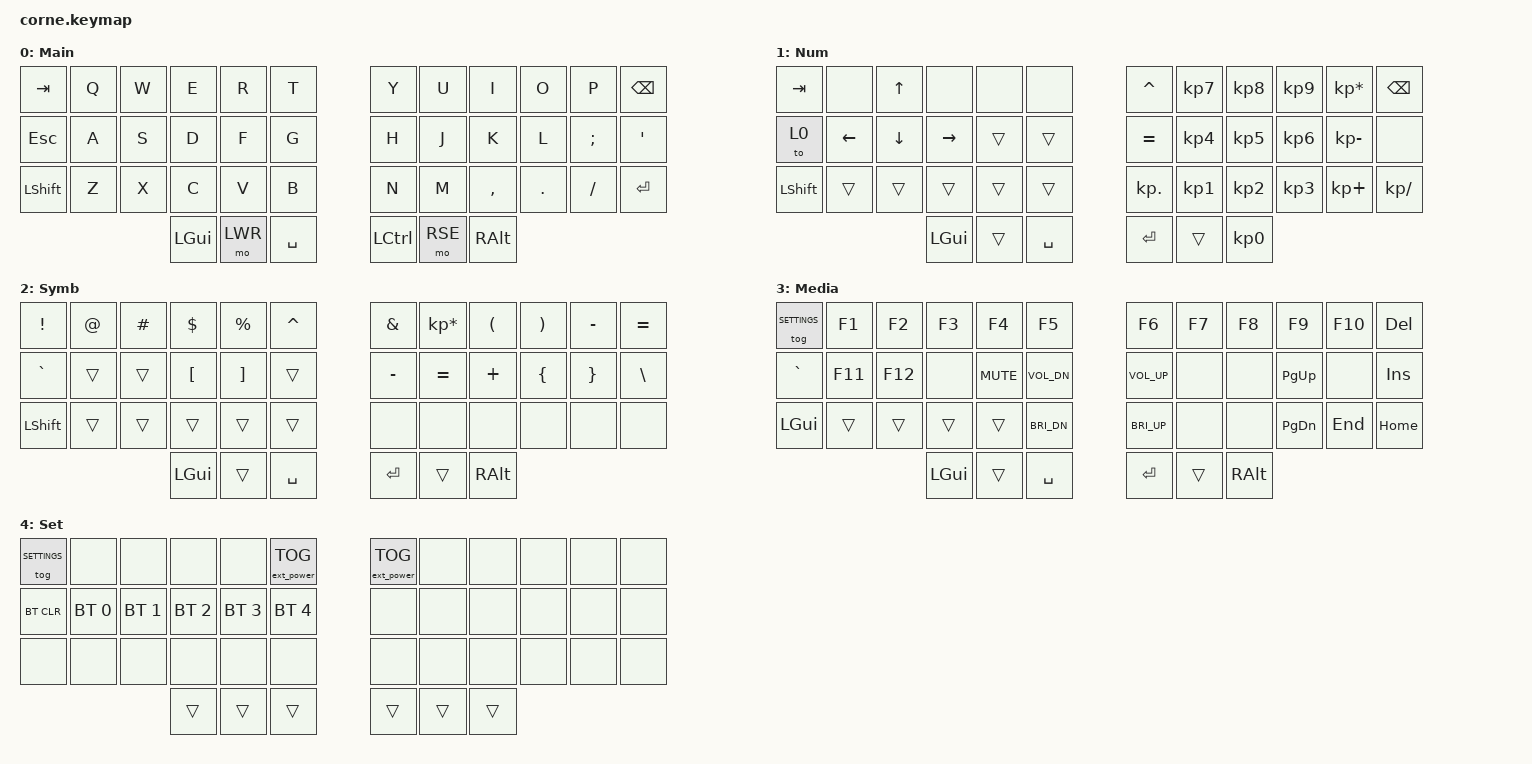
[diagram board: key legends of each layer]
/*
 * Copyright (c) 2020 The ZMK Contributors
 *
 * SPDX-License-Identifier: MIT
 */

#include <behaviors.dtsi>
#include <dt-bindings/zmk/keys.h>
#include <dt-bindings/zmk/bt.h>
#include <dt-bindings/zmk/ext_power.h>
#define LWR 1
#define RSE 2
#define ADJ 3
#define SETTINGS 4

/ {

        conditional_layers {
          compatible = "zmk,conditional-layers";
            tri_layer {
              if-layers = <LWR RSE>;
              then-layer = <ADJ>;
            };
        };
	
        keymap {
                compatible = "zmk,keymap";

                default_layer {
// -----------------------------------------------------------------------------------------
// |  TAB |  Q  |  W  |  E  |  R  |  T  |            |  Y  |  U   |  I  |  O  |  P  | BKSP |
// | ESC  |  A  |  S  |  D  |  F  |  G  |            |  H  |  J   |  K  |  L  |  ;  |  '   |
// | SHFT |  Z  |  X  |  C  |  V  |  B  |            |  N  |  M   |  ,  |  .  |  /  | ENT  |
// |                  | GUI | LWR | SPC |            | CTRL| RSE  | ALT |                  |
// -----------------------------------------------------------------------------------------
                        display-name = "Main";
                        bindings = <
   &kp TAB    &kp Q   &kp W     &kp E     &kp R     &kp T           &kp Y     &kp U     &kp I       &kp O     &kp P     &kp BSPC
   &kp ESC    &kp A   &kp S     &kp D     &kp F     &kp G           &kp H     &kp J     &kp K       &kp L     &kp SEMI  &kp SQT
   &kp LSHFT  &kp Z   &kp X     &kp C     &kp V     &kp B           &kp N     &kp M     &kp COMMA   &kp DOT   &kp FSLH  &kp ENTER
                                &kp LGUI  &mo LWR   &kp SPACE       &kp LCTRL &mo RSE   &kp RALT
                        >;
                };
                lower_layer {
// -----------------------------------------------------------------------------------------
// |  TAB |     |  UP |     |     |     |             |  ^  |  7  |  8  |  9  |  *  | BKSP |
// | to(0)| LEFT| DOWN|RIGHT|     |     |             |  =  |  4  |  5  |  6  |  -  |      |
// | SHFT |     |     |     |     |     |             |  .  |  1  |  2  |  3  |  +  |  /   |
// |                  | GUI |     | SPC |             | ENT |     |  0  |                  |
// -----------------------------------------------------------------------------------------
                        display-name = "Num";
                        bindings = <
   &kp TAB    &none      &kp UP     &none       &none   &none         &kp CARET   &kp KP_N7    &kp KP_N8  &kp KP_N9  &kp KP_MULTIPLY   &kp BSPC
   &to 0      &kp LEFT   &kp DOWN   &kp RIGHT   &trans  &trans        &kp EQUAL   &kp KP_N4    &kp KP_N5  &kp KP_N6  &kp KP_MINUS      &none
   &kp LSHFT  &trans     &trans     &trans      &trans  &trans        &kp KP_DOT  &kp KP_N1    &kp KP_N2  &kp KP_N3  &kp KP_PLUS       &kp KP_SLASH
                          	        &kp LGUI    &trans  &kp SPACE     &kp RET     &trans       &kp KP_N0
                        >;
                };

                raise_layer {
// -----------------------------------------------------------------------------------------
// |  !   |  @  |  #  |  $  |  %  |  ^  |             |  &  |  *  |  (  |  )  |  -  |  =   |
// | GRAVE|     |     |     |     |     |             |  -  |  =  |  +  |  {  |  }  |  \   |
// | SHFT |     |     |     |     |     |             |  _  |  +  |     |     |     |      |
// |                  | GUI |     | SPC |             | ENT |     | ALT |                  |
// -----------------------------------------------------------------------------------------
                        display-name = "Symb";
                        bindings = <
   &kp EXCL  &kp AT   &kp HASH  &kp DLLR  &kp PRCNT   &kp CARET       &kp AMPS    &kp KP_MULTIPLY   &kp LPAR  &kp RPAR  &kp MINUS   &kp EQUAL
   &kp GRAVE &trans   &trans    &kp LBKT  &kp RBKT    &trans          &kp MINUS   &kp EQUAL         &kp PLUS  &kp LBRC  &kp RBRC    &kp BSLH
   &kp LSHFT &trans   &trans    &trans    &trans      &trans          &none       &none             &none     &none     &none       &none
                    	          &kp LGUI  &trans      &kp SPACE       &kp RET   &trans    &kp RALT
                        >;
                };

                adjust_layer {
// -----------------------------------------------------------------------------------------
// |TOG(4)| F1  | F2  | F3  | F4  | F5  |             | F6  | F7  | F8  | F9  | F10 | Del  |
// | GRAVE| F11 | F12 |     | MUTE| VOL-|             | VOL+|     |     | PGUP|     | Ins  |
// |L_GUI |     |     |     |     | BR- |             | BR+ |     |     | PGDN| END | HOME |
// |                  | GUI |     | SPC |             | ENT |     | ALT |                  |
// -----------------------------------------------------------------------------------------
                        display-name = "Media";
                        bindings = <
   &tog SETTINGS  &kp F1   &kp F2    &kp F3    &kp F4      &kp F5             &kp F6            &kp F7    &kp F8    &kp F9       &kp F10   &kp DEL
   &kp GRAVE      &kp F11  &kp F12   &none     &kp C_MUTE  &kp C_VOL_DN       &kp C_VOL_UP      &none     &none     &kp PG_UP    &none     &kp INS
   &kp LGUI       &trans   &trans    &trans    &trans      &kp C_BRI_DN       &kp C_BRI_UP      &none     &none     &kp PG_DN    &kp END   &kp HOME
                    	               &kp LGUI  &trans      &kp SPACE          &kp RET           &trans    &kp RALT
                        >;
                };

                settings_layer {
// -----------------------------------------------------------------------------------------
// |TOG(4)|     |     |     | RGB | EXPW|             | EXPW|     |     |     |     |      |
// | BTCLR| BT1 | BT2 | BT3 | BT4 | BT5 |             |     |     |     |     |     |      |
// |      | EF- | SP- | SA- | HU- | BR- |             | BR+ | HU+ | SA+ | SP+ | EF+ |      |
// |                  |     |     |     |             |     |     |     |                  |
// -----------------------------------------------------------------------------------------
                        display-name = "Set";
                        bindings = <
  &tog SETTINGS &none         &none         &none         &none         &ext_power EP_TOG   &ext_power EP_TOG  &none   &none   &none   &none   &none
  &bt BT_CLR    &bt BT_SEL 0  &bt BT_SEL 1  &bt BT_SEL 2  &bt BT_SEL 3  &bt BT_SEL 4        &none   &none   &none   &none   &none   &none
  &none         &none         &none        &none        &none         &none     &none   &none   &none   &none   &none   &none
                                            &trans        &trans        &trans              &trans  &trans  &trans
                        >;
                };
        };
};
